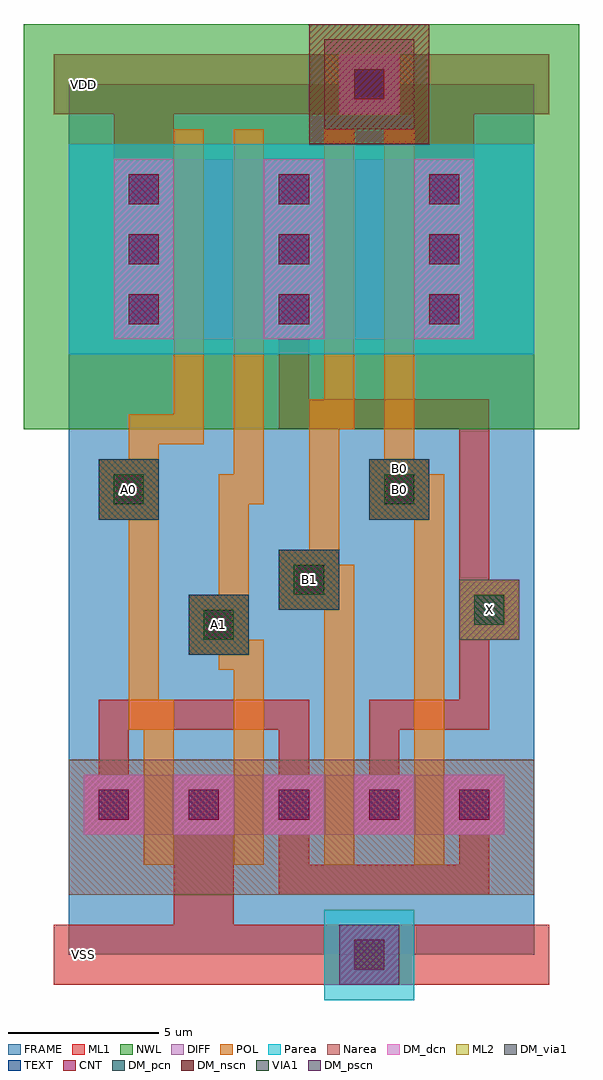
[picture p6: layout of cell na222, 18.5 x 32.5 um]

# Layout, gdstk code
import gdstk
lib = gdstk.Library(unit=1e-6, precision=1e-09)
def R(c, l, rs):  # rectangles x0, y0, x1, y1
    for r in rs: c.add(gdstk.rectangle(r[:2], r[2:], *l))
NWL = (1, 0)
DIFF = (3, 0)
POL = (5, 0)
CNT = (7, 0)
ML1 = (8, 0)
VIA1 = (9, 0)
ML2 = (10, 0)
TEXT = (13, 0)
FRAME = (14, 0)
Parea = (18, 0)
Narea = (19, 0)
DM_dcn = (101, 0)
DM_pcn = (102, 0)
DM_nscn = (103, 0)
DM_pscn = (104, 0)
DM_via1 = (105, 0)

dcont = lib.new_cell('dcont')
R(dcont, DIFF, [(-1,-1,1,1)])
R(dcont, CNT, [(-0.5,-0.5,0.5,0.5)])
R(dcont, ML1, [(-1,-1,1,1)])
R(dcont, TEXT, [(-0.5,-0.5,0.5,0.5)])
R(dcont, DM_dcn, [(-1,-1,1,1)])
dcont.add(gdstk.Label('dcont', (0,0), layer=13, texttype=0))

pcont = lib.new_cell('pcont')
R(pcont, POL, [(-1,-1,1,1)])
R(pcont, CNT, [(-0.5,-0.5,0.5,0.5)])
R(pcont, ML1, [(-1,-1,1,1)])
R(pcont, DM_pcn, [(-1,-1,1,1)])
pcont.add(gdstk.Label('pcont', (0,0), layer=13, texttype=0))

via = lib.new_cell('Via')
R(via, ML1, [(-1,-1,1,1)])
R(via, VIA1, [(-0.5,-0.5,0.5,0.5)])
R(via, ML2, [(-1,-1,1,1)])
R(via, TEXT, [(-0.5,-0.5,0.5,0.5)])
R(via, DM_via1, [(-1,-1,1,1)])
via.add(gdstk.Label('via', (0,0), layer=13, texttype=0))

nsubcont = lib.new_cell('nsubcont')
R(nsubcont, NWL, [(-2,-2,2,2)])
R(nsubcont, Narea, [(-1.5,-1.5,1.5,1.5)])
R(nsubcont, DM_nscn, [(-2,-2,2,2)])
nsubcont.add(gdstk.Reference(dcont, (0,0)))
nsubcont.add(gdstk.Label('NScont', (0,0), layer=13, texttype=0))

psubcont = lib.new_cell('psubcont')
R(psubcont, Parea, [(-1.5,-1.5,1.5,1.5)])
R(psubcont, DM_pscn, [(-1,-1,1,1)])
psubcont.add(gdstk.Reference(dcont, (0,0)))
psubcont.add(gdstk.Label('PScon', (0,0), layer=13, texttype=0))

na222 = lib.new_cell('na222')
R(na222, NWL, [(-1.5,17.5,17,31)])
R(na222, DIFF, [(0.5,4,8.5,6), (8.5,4,14.5,6), (1.5,20.5,13.5,26.5)])
R(na222, ML1, [(-0.5,-1,16,1), (4,10,6,12), (13,10.5,15,12.5), (7,11.5,9,13.5), (1,14.5,3,16.5), (10,14.5,12,16.5), (-0.5,28,16,30)])
R(na222, ML2, [(4,10,6,12), (13,10.5,15,12.5), (7,11.5,9,13.5), (1,14.5,3,16.5), (10,14.5,12,16.5)])
R(na222, FRAME, [(0,0,15.5,29)])
R(na222, Parea, [(0,20,15.5,27)])
R(na222, Narea, [(0,2,15.5,6.5)])
R(na222, DM_via1, [(4,10,6,12), (13,10.5,15,12.5), (7,11.5,9,13.5), (1,14.5,3,16.5), (10,14.5,12,16.5)])
na222.add(gdstk.FlexPath([(4,27),(4,17.5),(2.5,17.5),(2.5,8),(3,8),(3,3.5)], 1, ends="extended", simple_path=True, layer=5, datatype=0))  # POL
na222.add(gdstk.FlexPath([(6,27),(6,15.5),(5.5,15.5),(5.5,10),(6,10),(6,3.5)], 1, ends="extended", simple_path=True, layer=5, datatype=0))  # POL
na222.add(gdstk.FlexPath([(9,27),(9,18),(8.5,18),(8.5,12.5),(9,12.5),(9,3.5)], 1, ends="extended", simple_path=True, layer=5, datatype=0))  # POL
na222.add(gdstk.FlexPath([(12,3.5),(12,15.5),(11,15.5),(11,27)], 1, ends="extended", simple_path=True, layer=5, datatype=0))  # POL
na222.add(gdstk.FlexPath([(2.5,21.5),(2.5,28.5)], 2, ends="extended", simple_path=True, layer=8, datatype=0))  # ML1
na222.add(gdstk.FlexPath([(4.5,1),(4.5,5)], 2, ends="extended", simple_path=True, layer=8, datatype=0))  # ML1
na222.add(gdstk.FlexPath([(13.5,5.5),(13.5,2.5),(7.5,2.5),(7.5,8),(1.5,8),(1.5,5)], 1, ends="extended", simple_path=True, layer=8, datatype=0))  # ML1
na222.add(gdstk.FlexPath([(7.5,21.5),(7.5,25.5)], 1.4, ends="extended", simple_path=True, layer=8, datatype=0))  # ML1
na222.add(gdstk.FlexPath([(7.5,20.5),(7.5,18),(13.5,18),(13.5,8),(10.5,8),(10.5,5.5)], 1, ends="extended", simple_path=True, layer=8, datatype=0))  # ML1
na222.add(gdstk.FlexPath([(12.5,21.5),(12.5,28.5)], 2, ends="extended", simple_path=True, layer=8, datatype=0))  # ML1
na222.add(gdstk.Reference(dcont, (7.5,23.5)))
na222.add(gdstk.Reference(dcont, (1.5,5)))
na222.add(gdstk.Reference(pcont, (2,15.5)))
na222.add(gdstk.Reference(via, (11,15.5)))
na222.add(gdstk.Reference(dcont, (7.5,25.5)))
na222.add(gdstk.Reference(dcont, (7.5,5)))
na222.add(gdstk.Reference(via, (14,11.5)))
na222.add(gdstk.Reference(via, (5,11)))
na222.add(gdstk.Reference(dcont, (12.5,25.5)))
na222.add(gdstk.Reference(nsubcont, (10,29)))
na222.add(gdstk.Reference(dcont, (2.5,21.5)))
na222.add(gdstk.Reference(via, (8,12.5)))
na222.add(gdstk.Reference(dcont, (4.5,5)))
na222.add(gdstk.Reference(pcont, (8,12.5)))
na222.add(gdstk.Reference(dcont, (10.5,5)))
na222.add(gdstk.Reference(via, (2,15.5)))
na222.add(gdstk.Reference(dcont, (2.5,23.5)))
na222.add(gdstk.Reference(dcont, (12.5,21.5)))
na222.add(gdstk.Reference(dcont, (2.5,25.5)))
na222.add(gdstk.Reference(pcont, (11,15.5)))
na222.add(gdstk.Reference(psubcont, (10,0)))
na222.add(gdstk.Reference(pcont, (5,11)))
na222.add(gdstk.Reference(dcont, (7.5,21.5)))
na222.add(gdstk.Reference(dcont, (12.5,23.5)))
na222.add(gdstk.Reference(dcont, (13.5,5)))
na222.add(gdstk.Label('VDD', (0.5,29), layer=8, texttype=0))
na222.add(gdstk.Label('VSS', (0.5,0), layer=8, texttype=0))
na222.add(gdstk.Label('B0', (11,15.5), layer=10, texttype=0))
na222.add(gdstk.Label('X', (14,11.5), layer=10, texttype=0))
na222.add(gdstk.Label('A0', (2,15.5), layer=10, texttype=0))
na222.add(gdstk.Label('A1', (5,11), layer=10, texttype=0))
na222.add(gdstk.Label('B1', (8,12.5), layer=10, texttype=0))
na222.add(gdstk.Label('via', (2,15.5), layer=13, texttype=0))
na222.add(gdstk.Label('via', (5,11), layer=13, texttype=0))
na222.add(gdstk.Label('via', (8,12.5), layer=13, texttype=0))
na222.add(gdstk.Label('via', (11,15.5), layer=13, texttype=0))
na222.add(gdstk.Label('B0', (11,16.2), layer=13, texttype=0))
na222.add(gdstk.Label('via', (14,11.5), layer=13, texttype=0))

lib.write_gds('na222.gds')
